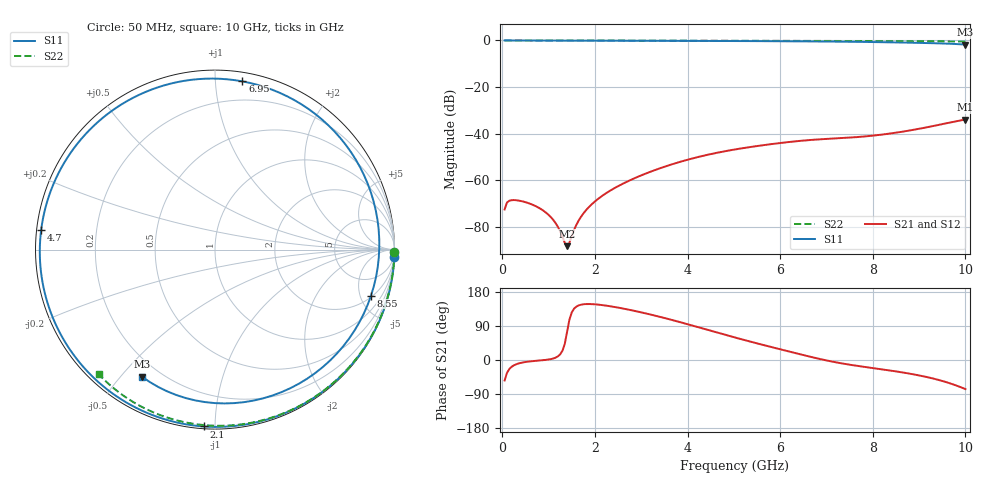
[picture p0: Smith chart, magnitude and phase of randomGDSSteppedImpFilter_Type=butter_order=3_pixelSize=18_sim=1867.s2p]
! freq	dB(S11)	phase(S11)	dB(S12)	phase(S12)
!  dB(S21)	phase(S21)	dB(S22)	phase(S22)
!S-par simulation data
#  GHz  S  DB  R 50
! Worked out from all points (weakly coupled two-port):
!   200 points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, 50 MHz to 10 GHz, reference 50 ohm
!   highest |S21| = -33.95 dB at 10 GHz (marker M1); lowest = -88.3 dB at 1.4 GHz (marker M2)
!   lowest |S11| = -1.8 dB at 10 GHz (marker M3), VSWR 9.89, Z = 6.72 - j28.5 ohm
!   |S11| at or under -10 dB: nowhere
!   |S22| runs from -0.5 to 0.0 dB; largest |S21 - S12| = 0
!   S11 on the Smith chart (normalised r, x): 50 MHz: 0, -48; 2.1 GHz: 0.01, -0.94; 4.7 GHz: 0.01, +0.06; 6.95 GHz: 0.06, +1.17; 8.55 GHz: 2.17, -6.21; 10 GHz: 0.13, -0.57
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0.05  -0.00 -2.4  -72.53 -54.1  -72.53 -54.1  -0.00 -0.8
0.15  -0.00 -7.2  -68.80 -24.1  -68.80 -24.1  -0.00 -2.3
0.5  -0.02 -23.9  -69.40 -5.3  -69.40 -5.3  -0.01 -7.7
0.9  -0.04 -42.5  -73.24 -0.2  -73.24 -0.2  -0.02 -13.8
1.2  -0.06 -56.0  -79.95 9.5  -79.95 9.5  -0.02 -18.3
1.4  -0.08 -64.7  -88.29 74.7  -88.29 74.7  -0.03 -21.3
1.55  -0.08 -71.1  -81.33 135.5  -81.33 135.5  -0.03 -23.6
1.75  -0.09 -79.5  -74.29 147.0  -74.29 147.0  -0.03 -26.6
2.1  -0.11 -93.7  -67.52 145.8  -67.52 145.8  -0.04 -31.8
3.4  -0.16 -141.7  -54.89 114.0  -54.89 114.0  -0.07 -50.6
4.7  -0.22 173.5  -47.96 70.4  -47.96 70.4  -0.10 -68.5
5.05  -0.25 161.1  -46.69 58.5  -46.69 58.5  -0.11 -73.2
5.85  -0.31 130.7  -44.39 32.9  -44.39 32.9  -0.14 -83.6
6.7  -0.41 93.2  -42.65 7.1  -42.65 7.1  -0.18 -94.3
6.95  -0.45 80.8  -42.32 0.2  -42.32 0.2  -0.20 -97.3
7.6  -0.57 44.7  -41.56 -14.3  -41.56 -14.3  -0.24 -105.2
8.35  -0.78 -2.9  -40.02 -27.3  -40.02 -27.3  -0.29 -114.1
8.55  -0.85 -16.4  -39.44 -31.0  -39.44 -31.0  -0.31 -116.4
9  -1.03 -47.5  -37.91 -40.7  -37.91 -40.7  -0.35 -121.6
9.35  -1.20 -72.2  -36.54 -50.3  -36.54 -50.3  -0.38 -125.7
9.7  -1.44 -97.4  -35.09 -62.8  -35.09 -62.8  -0.42 -129.7
10  -1.76 -120.0  -33.95 -76.7  -33.95 -76.7  -0.45 -133.1
